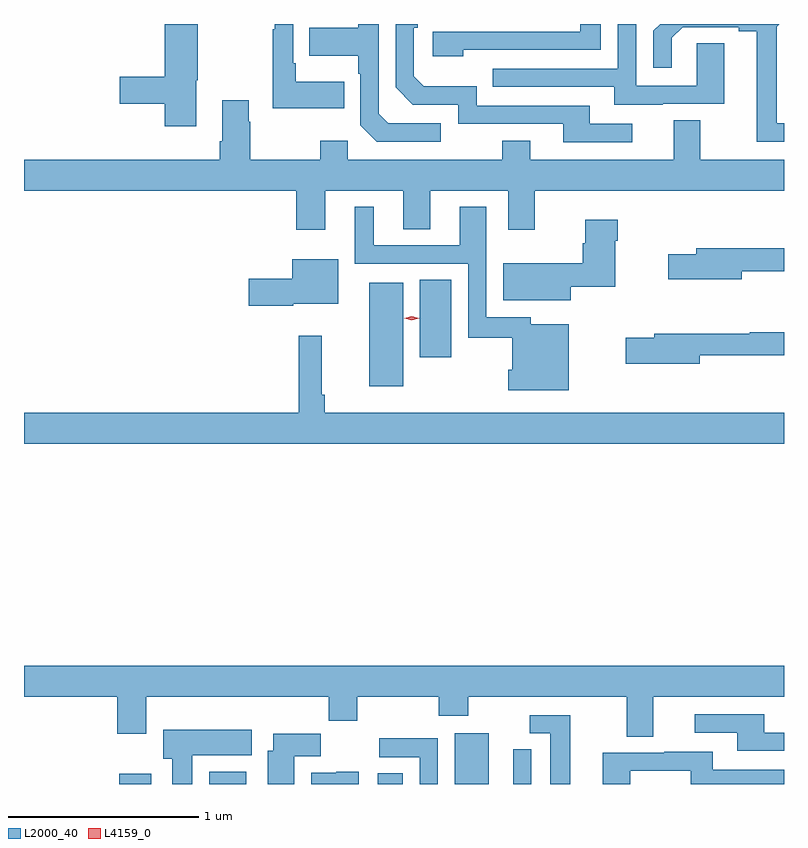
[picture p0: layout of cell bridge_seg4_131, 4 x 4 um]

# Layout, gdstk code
import gdstk
lib = gdstk.Library(unit=1e-6, precision=1e-09)
def R(c, l, rs):  # rectangles x0, y0, x1, y1
    for r in rs: c.add(gdstk.rectangle(r[:2], r[2:], *l))
def P(c, l, *ps):  # polygons
    for p in ps: c.add(gdstk.Polygon(p, *l))
L2000_40 = (2000, 40)
L4159_0 = (4159, 0)

bridge_seg4_131 = lib.new_cell('bridge_seg4_131')
R(bridge_seg4_131, L2000_40, [(262.568,787.038,262.738,787.093), (263.042,787.038,263.239,787.102), (263.93,787.038,264.061,787.094), (264.335,787.038,264.514,787.306), (263.885,789.131,264.064,789.676), (264.152,789.285,264.316,789.692)])
P(bridge_seg4_131, L2000_40, [(262.975,790.743),(262.983,790.743),(262.983,791.038),(262.808,791.038),(262.808,790.76),(262.572,790.76),(262.572,790.618),(262.808,790.618),(262.808,790.5),(262.975,790.5)],
  [(265.27,790.512),(265.045,790.512),(265.045,790.608),(264.45,790.608),(264.45,790.711),(264.173,790.711),(264.12,790.764),(264.12,791.018),(264.14,791.018),(264.14,791.038),(264.024,791.038),(264.024,790.704),(264.114,790.614),(264.354,790.614),(264.354,790.512),(264.905,790.512),(264.905,790.416),(265.27,790.416)],
  [(265.429,790.617),(265.753,790.617),(265.753,790.937),(265.608,790.937),(265.608,790.713),(265.29,790.713),(265.29,791.038),(265.194,791.038),(265.194,790.803),(264.535,790.803),(264.535,790.707),(265.175,790.707),(265.175,790.613),(265.429,790.613)],
  [(264.38,790.902),(265.104,790.902),(265.104,791.038),(264.995,791.038),(264.995,790.998),(264.219,790.998),(264.219,790.868),(264.38,790.868)],
  [(264.262,790.515),(263.985,790.515),(263.934,790.566),(263.934,791.038),(263.826,791.038),(263.826,791.019),(263.569,791.019),(263.569,790.871),(263.826,790.871),(263.826,790.775),(263.838,790.775),(263.838,790.506),(263.925,790.419),(264.262,790.419)],
  [(263.753,790.735),(263.497,790.735),(263.497,790.831),(263.484,790.831),(263.484,791.038),(263.387,791.038),(263.387,791.011),(263.376,791.011),(263.376,790.595),(263.753,790.595)],
  [(266.068,790.515),(266.029,790.515),(266.029,791.023),(266.044,791.038),(265.416,791.038),(265.38,791.002),(265.38,790.809),(265.477,790.809),(265.477,790.965),(265.534,791.022),(265.829,791.022),(265.829,791),(265.925,791),(265.925,790.419),(266.068,790.419)],
  [(263.653,790.16),(264.065,790.16),(264.065,789.958),(264.205,789.958),(264.205,790.16),(264.617,790.16),(264.617,789.954),(264.757,789.954),(264.757,790.16),(266.068,790.16),(266.068,790.324),(265.627,790.324),(265.627,790.532),(265.487,790.532),(265.487,790.324),(264.733,790.324),(264.733,790.423),(264.586,790.423),(264.586,790.324),(263.772,790.324),(263.772,790.423),(263.626,790.423),(263.626,790.324),(263.259,790.324),(263.259,790.523),(263.251,790.523),(263.251,790.636),(263.111,790.636),(263.111,790.42),(263.099,790.42),(263.099,790.324),(262.068,790.324),(262.068,790.16),(263.501,790.16),(263.501,789.954),(263.653,789.954)],
  [(264.934,789.457),(264.735,789.457),(264.735,789.495),(264.501,789.495),(264.501,790.075),(264.362,790.075),(264.362,789.873),(263.908,789.873),(263.908,790.075),(263.81,790.075),(263.81,789.777),(264.405,789.777),(264.405,789.387),(264.639,789.387),(264.639,789.217),(264.617,789.217),(264.617,789.11),(264.934,789.11)],
  [(264.946,789.656),(265.18,789.656),(265.18,789.896),(265.193,789.896),(265.193,790.009),(265.022,790.009),(265.022,789.885),(265.01,789.885),(265.01,789.778),(264.59,789.778),(264.59,789.584),(264.946,789.584)],
  [(265.846,789.738),(266.068,789.738),(266.068,789.859),(265.607,789.859),(265.607,789.825),(265.458,789.825),(265.458,789.695),(265.846,789.695)],
  [(263.484,789.566),(263.722,789.566),(263.722,789.799),(263.48,789.799),(263.48,789.696),(263.25,789.696),(263.25,789.554),(263.484,789.554)],
  [(265.624,789.294),(266.068,789.294),(266.068,789.415),(265.889,789.415),(265.889,789.407),(265.385,789.407),(265.385,789.386),(265.236,789.386),(265.236,789.251),(265.624,789.251)],
  [(266.068,788.992),(263.651,788.992),(263.651,789.088),(263.634,789.088),(263.634,789.397),(263.515,789.397),(263.515,788.992),(262.068,788.992),(262.068,788.828),(266.068,788.828)],
  [(265.381,787.496),(266.068,787.496),(266.068,787.66),(262.068,787.66),(262.068,787.496),(262.559,787.496),(262.559,787.302),(262.711,787.302),(262.711,787.496),(263.671,787.496),(263.671,787.372),(263.823,787.372),(263.823,787.496),(264.25,787.496),(264.25,787.397),(264.405,787.397),(264.405,787.496),(265.241,787.496),(265.241,787.288),(265.381,787.288)],
  [(266.068,787.308),(265.963,787.308),(265.963,787.404),(265.599,787.404),(265.599,787.308),(265.823,787.308),(265.823,787.212),(266.068,787.212)],
  [(264.943,787.401),(264.729,787.401),(264.729,787.305),(264.839,787.305),(264.839,787.038),(264.943,787.038)],
  [(262.954,787.19),(263.266,787.19),(263.266,787.324),(262.802,787.324),(262.802,787.17),(262.847,787.17),(262.847,787.038),(262.954,787.038)],
  [(263.491,787.184),(263.63,787.184),(263.63,787.303),(263.381,787.303),(263.381,787.213),(263.351,787.213),(263.351,787.038),(263.491,787.038)],
  [(264.246,787.278),(263.937,787.278),(263.937,787.179),(264.15,787.179),(264.15,787.038),(264.246,787.038)],
  [(264.738,787.22),(264.642,787.22),(264.642,787.066),(264.644,787.066),(264.644,787.038),(264.738,787.038)],
  [(265.26,787.107),(265.578,787.107),(265.578,787.038),(266.068,787.038),(266.068,787.113),(265.693,787.113),(265.693,787.207),(265.439,787.207),(265.439,787.203),(265.115,787.203),(265.115,787.038),(265.26,787.038)],
  [(263.83,787.102),(263.712,787.102),(263.712,787.096),(263.579,787.096),(263.579,787.038),(263.83,787.038)])
P(bridge_seg4_131, L4159_0, [(264.108,789.479),(264.068,789.489),(264.068,789.489),(264.068,789.489),(264.108,789.499),(264.147,789.489),(264.147,789.489),(264.147,789.489)])

lib.write_gds('bridge_seg4_131.gds')
